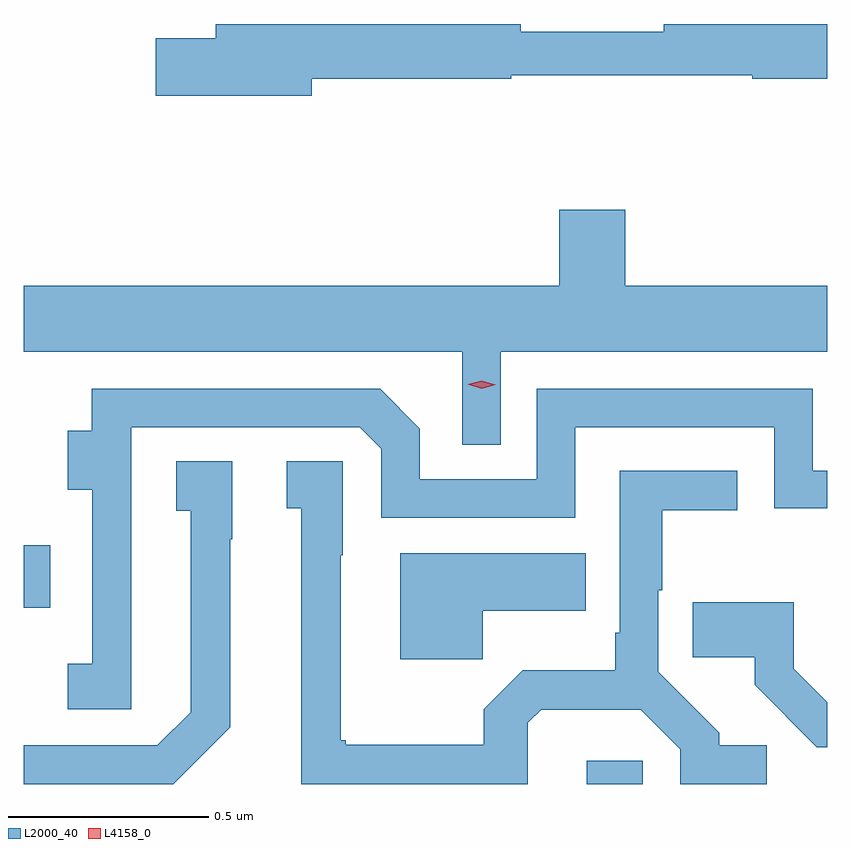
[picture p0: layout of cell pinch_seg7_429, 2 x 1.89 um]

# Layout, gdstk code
import gdstk
lib = gdstk.Library(unit=1e-6, precision=1e-09)
def R(c, l, rs):  # rectangles x0, y0, x1, y1
    for r in rs: c.add(gdstk.rectangle(r[:2], r[2:], *l))
def P(c, l, *ps):  # polygons
    for p in ps: c.add(gdstk.Polygon(p, *l))
L2000_40 = (2000, 40)
L4158_0 = (4158, 0)

pinch_seg7_429 = lib.new_cell('pinch_seg7_429')
R(pinch_seg7_429, L2000_40, [(536.705,1015.524,536.844,1015.582), (535.303,1015.963,535.369,1016.118)])
P(pinch_seg7_429, L2000_40, [(536.02,1017.28),(536.516,1017.28),(536.516,1017.288),(537.116,1017.288),(537.116,1017.28),(537.303,1017.28),(537.303,1017.416),(536.896,1017.416),(536.896,1017.397),(536.54,1017.397),(536.54,1017.416),(535.781,1017.416),(535.781,1017.38),(535.632,1017.38),(535.632,1017.238),(536.02,1017.238)],
  [(536.49,1016.6),(537.303,1016.6),(537.303,1016.764),(536.8,1016.764),(536.8,1016.953),(536.636,1016.953),(536.636,1016.764),(535.303,1016.764),(535.303,1016.6),(536.394,1016.6),(536.394,1016.368),(536.49,1016.368)],
  [(535.57,1016.412),(536.139,1016.412),(536.193,1016.358),(536.193,1016.187),(536.676,1016.187),(536.676,1016.412),(537.171,1016.412),(537.171,1016.211),(537.303,1016.211),(537.303,1016.304),(537.267,1016.304),(537.267,1016.508),(536.58,1016.508),(536.58,1016.283),(536.289,1016.283),(536.289,1016.409),(536.19,1016.508),(535.472,1016.508),(535.472,1016.404),(535.412,1016.404),(535.412,1016.257),(535.473,1016.257),(535.473,1015.823),(535.413,1015.823),(535.413,1015.71),(535.57,1015.71)],
  [(536.558,1015.676),(536.591,1015.709),(536.839,1015.709),(536.937,1015.611),(536.937,1015.524),(537.153,1015.524),(537.153,1015.62),(537.034,1015.62),(537.034,1015.652),(536.883,1015.803),(536.883,1016.006),(536.892,1016.006),(536.892,1016.206),(537.079,1016.206),(537.079,1016.304),(536.787,1016.304),(536.787,1015.9),(536.775,1015.9),(536.775,1015.807),(536.545,1015.807),(536.448,1015.71),(536.448,1015.622),(536.104,1015.622),(536.104,1015.633),(536.092,1015.633),(536.092,1016.094),(536.097,1016.094),(536.097,1016.327),(535.958,1016.327),(535.958,1016.21),(535.994,1016.21),(535.994,1015.524),(536.558,1015.524)],
  [(535.817,1015.665),(535.817,1016.133),(535.822,1016.133),(535.822,1016.327),(535.682,1016.327),(535.682,1016.204),(535.718,1016.204),(535.718,1015.703),(535.635,1015.62),(535.303,1015.62),(535.303,1015.524),(535.675,1015.524)],
  [(536.445,1015.955),(536.702,1015.955),(536.702,1016.098),(536.24,1016.098),(536.24,1015.835),(536.445,1015.835)],
  [(537.303,1015.728),(537.22,1015.811),(537.22,1015.977),(536.968,1015.977),(536.968,1015.84),(537.123,1015.84),(537.123,1015.771),(537.277,1015.616),(537.303,1015.616)])
P(pinch_seg7_429, L4158_0, [(536.443,1016.508),(536.408,1016.519),(536.408,1016.519),(536.408,1016.519),(536.443,1016.528),(536.478,1016.518),(536.478,1016.518),(536.478,1016.518)])

lib.write_gds('pinch_seg7_429.gds')
